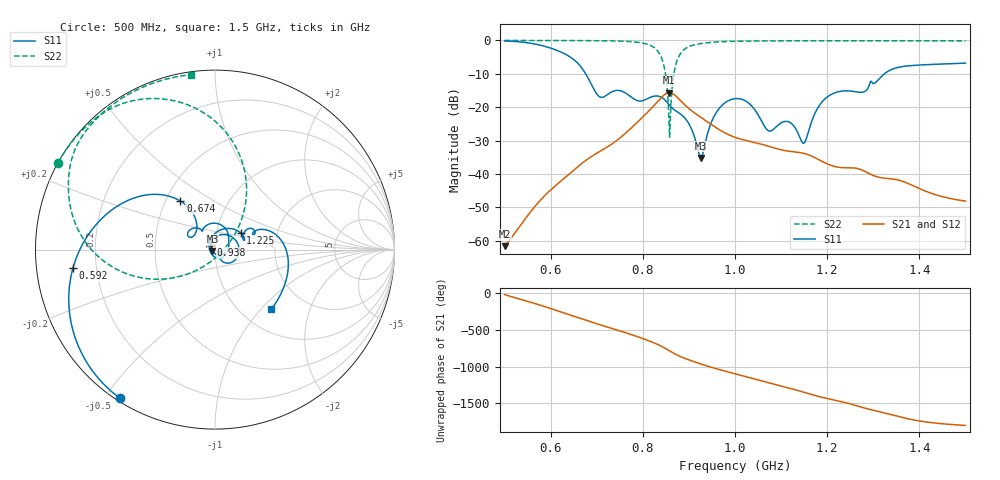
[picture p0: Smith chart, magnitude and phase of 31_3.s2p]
! TOUCHSTONE file generated by CST MICROWAVE STUDIO
! Date and time: Fri Oct  2 16:36:02 2020
! Project name: Scenario_1_Free_Space_out_of_line.cst
! Parameters = {Lambda=346.42; Step_1=17.321; dy1=-172.59; dx1=520; L_HA=400; MT=2.54; Rad_Dielectric=30; Rad_Lower=7.3; Rad_Upper=30; a_HA=580; a_WG=246; b_HA=500; b_WG=121; c_HA=0; c_WG=187; d_feed=85; h_feed=15; h_lower=18; h_upper=40}
! Header version: 2018
! Port assignment regex: !\s*Touchstone port\s*([0-9]+)\s*=\s*(CST MWS port|CST DS port)\s*([0-9]+|Zmin|Zmax)\s*\(\"(.*)\"\)(\s*mode\s*([0-9]+))?.*
! Touchstone port assignment:
! Touchstone port 1 = CST MWS port 1 ("")
! Touchstone port 2 = CST MWS port 2 ("")
# GHz S DB R 50
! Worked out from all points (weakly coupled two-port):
!   1003 points, 500 MHz to 1.5 GHz, reference 50 ohm
!   highest |S21| = -15.64 dB at 857 MHz (marker M1); lowest = -61.6 dB at 500 MHz (marker M2)
!   lowest |S11| = -35.2 dB at 926 MHz (marker M3), VSWR 1.04, Z = 48.6 - j0.945 ohm
!   |S11| at or under -10 dB: 675.9 MHz to 1.324 GHz (648.2 MHz wide, 64.8 % of centre)
!   |S22| runs from -29.0 to 0.0 dB; largest |S21 - S12| = 1.3e-05
!   S11 on the Smith chart (normalised r, x): 500 MHz: 0.01, -0.55; 592 MHz: 0.11, -0.06; 674 MHz: 0.59, +0.36; 938 MHz: 0.95, +0.05; 1.225 GHz: 1.31, +0.25; 1.5 GHz: 1.36, -1.14
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0.5  -0.15 -122.7  -61.63 -23.3  -61.63 -23.3  -0.01 151.1
0.592  -1.95 -172.5  -45.82 162.5  -45.82 162.5  -0.02 144.7
0.667  -8.17 130.5  -36.91 9.1  -36.91 9.1  -0.05 138.2
0.674  -9.57 125.5  -36.16 -5.6  -36.16 -5.6  -0.05 137.6
0.708  -16.99 140.6  -33.13 -75.7  -33.13 -75.7  -0.08 133.7
0.787  -17.98 124.6  -24.65 128.6  -24.65 128.6  -0.52 117.7
0.834  -16.70 86.5  -17.98 14.2  -17.98 14.2  -3.51 85.7
0.847  -17.71 62.7  -16.22 -27.4  -16.22 -27.4  -8.38 62.5
0.857  -19.23 46.6  -15.64 -63.8  -15.64 -63.8  -25.36 5.7
0.878  -21.68 19.8  -17.49 -134.9  -17.49 -134.9  -4.82 -170.0
0.926  -35.23 -145.9  -23.05 114.6  -23.05 114.6  -0.94 155.5
0.938  -29.18 131.4  -24.19 90.4  -24.19 90.4  -0.72 152.0
0.963  -20.86 66.6  -26.49 43.7  -26.49 43.7  -0.43 146.3
1  -17.44 3.2  -29.01 -17.7  -29.01 -17.7  -0.25 140.2
1.073  -27.10 -44.8  -31.72 -140.1  -31.72 -140.1  -0.14 132.1
1.12  -24.62 -55.8  -33.24 143.5  -33.24 143.5  -0.11 127.9
1.148  -30.78 -153.1  -33.80 94.2  -33.80 94.2  -0.10 125.6
1.167  -24.05 112.3  -34.71 59.3  -34.71 59.3  -0.10 124.1
1.225  -15.35 33.0  -38.00 -28.3  -38.00 -28.3  -0.08 119.6
1.28  -15.41 23.8  -39.11 -120.8  -39.11 -120.8  -0.08 115.5
1.334  -9.08 13.3  -41.40 156.2  -41.40 156.2  -0.09 111.4
1.5  -6.80 -46.6  -48.14 0.8  -48.16 0.9  -0.14 97.8
